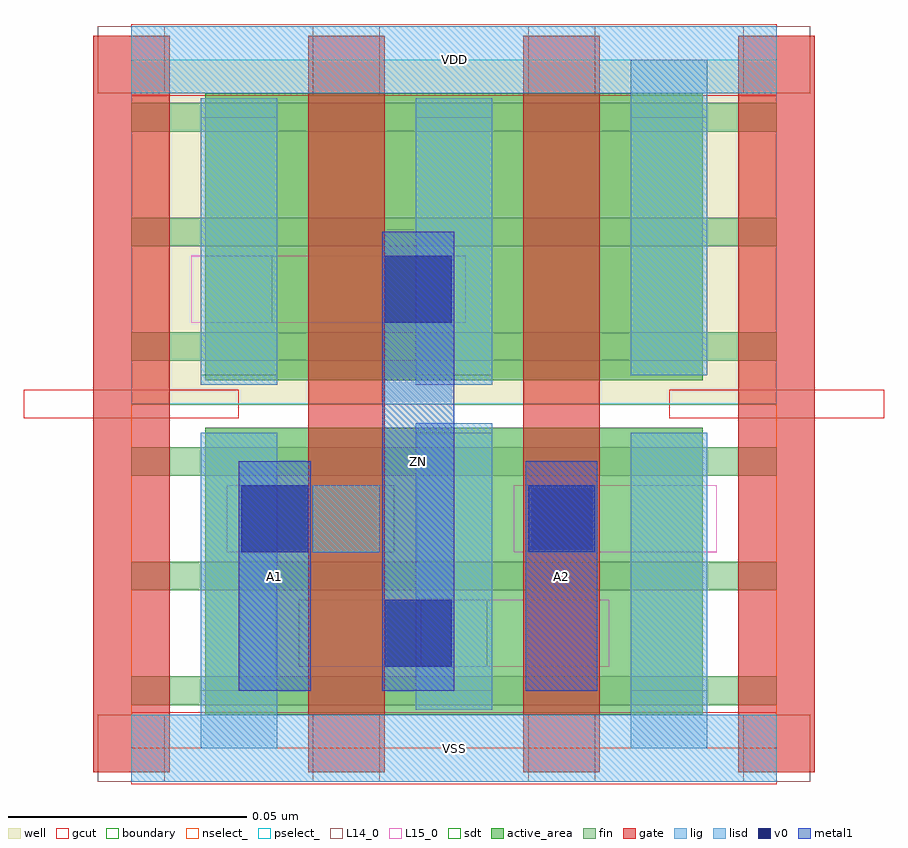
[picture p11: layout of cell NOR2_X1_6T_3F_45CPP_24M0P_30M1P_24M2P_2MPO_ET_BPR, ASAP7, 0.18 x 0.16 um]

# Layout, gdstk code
import gdstk
lib = gdstk.Library(unit=1e-6, precision=2.5e-10)
def R(c, l, rs):  # rectangles x0, y0, x1, y1
    for r in rs: c.add(gdstk.rectangle(r[:2], r[2:], *l))
def A(c, l, x, y, w, h, nx, ny, dx, dy):  # array of equal rectangles
    R(c, l, [(x+i*dx, y+j*dy, x+i*dx+w, y+j*dy+h) for i in range(nx) for j in range(ny)])
well = (1, 0)
fin = (2, 0)
gate = (7, 0)
gcut = (10, 0)
active_area = (11, 0)
nselect_ = (12, 0)
pselect_ = (13, 0)
L14_0 = (14, 0)
L15_0 = (15, 0)
lig = (16, 0)
lisd = (17, 0)
v0 = (18, 0)
metal1 = (19, 0)
sdt = (88, 0)
boundary = (100, 0)

nor2_x1_6t_3f_45cpp_24m0 = lib.new_cell('NOR2_X1_6T_3F_45CPP_24M0P_30M1P_24M2P_2MPO_ET_BPR')
R(nor2_x1_6t_3f_45cpp_24m0, well, [(0,0.072,0.135,0.144)])
A(nor2_x1_6t_3f_45cpp_24m0, fin, 0, 0.009, 0.135, 0.006, 1, 6, 0, 0.024)
A(nor2_x1_6t_3f_45cpp_24m0, gate, -0.008, -0.005, 0.016, 0.154, 4, 1, 0.045, 0)
R(nor2_x1_6t_3f_45cpp_24m0, gcut, [(0,-0.0075,0.135,0.0075), (-0.0225,0.069,0.0225,0.075), (0.1125,0.069,0.1575,0.075), (0,0.1365,0.135,0.1515)])
R(nor2_x1_6t_3f_45cpp_24m0, active_area, [(0.0155,0.007,0.0745,0.067), (0.0605,0.007,0.1195,0.067), (0.0155,0.077,0.0745,0.137), (0.0605,0.077,0.1195,0.137)])
R(nor2_x1_6t_3f_45cpp_24m0, nselect_, [(0,0,0.135,0.072)])
R(nor2_x1_6t_3f_45cpp_24m0, pselect_, [(0,0.072,0.135,0.144)])
A(nor2_x1_6t_3f_45cpp_24m0, L14_0, -0.007, -0.007, 0.014, 0.014, 4, 2, 0.045, 0.144)
R(nor2_x1_6t_3f_45cpp_24m0, L14_0, [(0.0605,0.017,0.0745,0.031), (0.038,0.041,0.052,0.055), (0.083,0.041,0.097,0.055), (0.0155,0.089,0.0295,0.103)])
R(nor2_x1_6t_3f_45cpp_24m0, L15_0, [(0,-0.007,0.135,0.007), (0.035,0.017,0.1,0.031), (0.02,0.041,0.055,0.055), (0.08,0.041,0.1225,0.055), (0.0125,0.089,0.07,0.103), (0,0.137,0.135,0.151)])
R(nor2_x1_6t_3f_45cpp_24m0, lig, [(0,-0.007,0.135,0.007), (0.038,0.041,0.052,0.055), (0.083,0.041,0.097,0.055), (0,0.137,0.135,0.151)])
R(nor2_x1_6t_3f_45cpp_24m0, lisd, [(0.0145,0,0.0305,0.066), (0.1045,0,0.1205,0.066), (0.0595,0.008,0.0755,0.068), (0.0145,0.076,0.0305,0.136), (0.0595,0.076,0.0755,0.136), (0.1045,0.078,0.1205,0.144)])
R(nor2_x1_6t_3f_45cpp_24m0, v0, [(0.053,0.017,0.067,0.031), (0.023,0.041,0.037,0.055), (0.083,0.041,0.097,0.055), (0.053,0.089,0.067,0.103)])
R(nor2_x1_6t_3f_45cpp_24m0, metal1, [(0.0225,0.012,0.0375,0.06), (0.0525,0.012,0.0675,0.108), (0.0825,0.012,0.0975,0.06)])
A(nor2_x1_6t_3f_45cpp_24m0, sdt, 0.0145, 0.012, 0.016, 0.054, 3, 2, 0.045, 0.066)
R(nor2_x1_6t_3f_45cpp_24m0, boundary, [(0,0,0.135,0.144)])
nor2_x1_6t_3f_45cpp_24m0.add(gdstk.Label('A2', (0.09,0.036), layer=19, texttype=251))
nor2_x1_6t_3f_45cpp_24m0.add(gdstk.Label('A1', (0.03,0.036), layer=19, texttype=251))
nor2_x1_6t_3f_45cpp_24m0.add(gdstk.Label('ZN', (0.06,0.06), layer=19, texttype=251))
nor2_x1_6t_3f_45cpp_24m0.add(gdstk.Label('VDD', (0.0675,0.144), layer=15, texttype=251))
nor2_x1_6t_3f_45cpp_24m0.add(gdstk.Label('VSS', (0.0675,0), layer=15, texttype=251))
nor2_x1_6t_3f_45cpp_24m0.add(gdstk.Label('VDD', (0.0675,0.144), layer=1, texttype=251))
nor2_x1_6t_3f_45cpp_24m0.add(gdstk.Label('VSS', (0.0675,0), layer=3, texttype=251))

lib.write_gds('NOR2_X1_6T_3F_45CPP_24M0P_30M1P_24M2P_2MPO_ET_BPR.gds')
